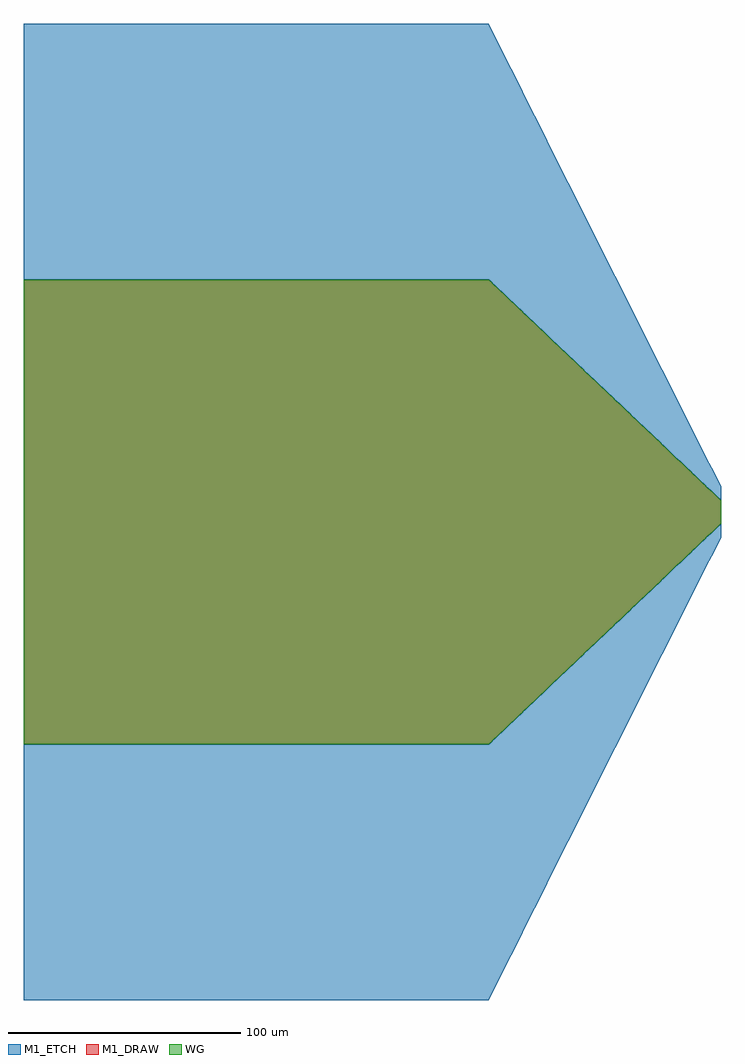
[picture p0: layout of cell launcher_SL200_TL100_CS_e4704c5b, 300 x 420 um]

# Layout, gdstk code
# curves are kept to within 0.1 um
import gdstk
lib = gdstk.Library(unit=1e-6, precision=1e-09)
def R(c, l, rs):  # rectangles x0, y0, x1, y1
    for r in rs: c.add(gdstk.rectangle(r[:2], r[2:], *l))
def P(c, l, *ps):  # polygons
    for p in ps: c.add(gdstk.Polygon(p, *l))
M1_DRAW = (1, 0)
M1_ETCH = (1, 1)
WG = (102, 0)

straight_gdsfactorypcom_ = lib.new_cell('straight_gdsfactorypcom_9e1d218e')
R(straight_gdsfactorypcom_, M1_DRAW, [(0,-100,200,100)])
R(straight_gdsfactorypcom_, M1_ETCH, [(0,-210,200,-100), (0,100,200,210)])
R(straight_gdsfactorypcom_, WG, [(0,-100,200,100)])

taper_cross_section_gds_ = lib.new_cell('taper_cross_section_gds_94230940')
P(taper_cross_section_gds_, M1_DRAW, [(0,-100),(0,100),(100,5),(100,-5)])
P(taper_cross_section_gds_, M1_ETCH, [(0,-210),(0,-100),(100,-5),(100,-11)],
  [(100,5),(0,100),(0,210),(100,11)])
P(taper_cross_section_gds_, WG, [(0,-100),(0,100),(100,5),(100,-5)])

launcher_sl200_tl100_cs_ = lib.new_cell('launcher_SL200_TL100_CS_e4704c5b')
launcher_sl200_tl100_cs_.add(gdstk.Reference(straight_gdsfactorypcom_, (0,0)))
launcher_sl200_tl100_cs_.add(gdstk.Reference(taper_cross_section_gds_, (200,0)))

lib.write_gds('launcher_SL200_TL100_CS_e4704c5b.gds')
